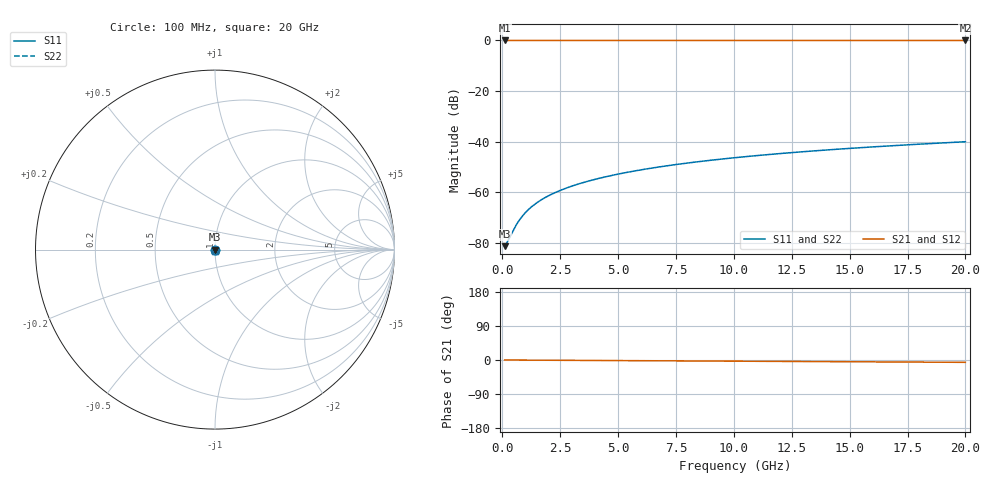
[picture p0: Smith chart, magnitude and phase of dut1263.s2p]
! Touchstone file exported from HFSS 2026.1.0
!  File:  C:/ffzhzh/LocalFiles/Ansys_Project_Files/temp_train_TSV_1263_1783193928_55132.aedt
!  Generated:  03:40:19 AM Jul  5, 2026
!  Design:  TSV
!  Project:  temp_train_TSV_1263_1783193928_55132
! Variables:
!  h_bsmrdl = 2um
!  h_ox = 20um
!  h_rdl = 5um
!  h_sub = 59.54um
!  h_tmrdl = 5um
!  h_tsv = 59.54um
!  h_via = 3um
!  l_bsmrdl = 300um
!  l_sub = 423.24um
!  l_tmrdl = 200um
!  m_sub = 200um
!  pitch = 42.25um
!  r_tsv = 11.62um
!  s_tmrdl = 10um
!  w_bsmrdl = 18um
!  w_sub = 500um
!  w_tmrdl = 12um
!  x_tsv_center1 = 206um
!  x_tsv_center2 = 524um
!  x_tsv_center3 = 736um
!  x_tsv_center4 = 1054um
!  x_tsv_center5 = 1266um
!  x_tsv_center6 = 1584um
# GHz S MA R 50.000000
! Terminal data exported
! Port[1] = TSV1_1_T1
! Port[2] = TSV1_1_T2
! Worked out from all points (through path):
!   200 points, 100 MHz to 20 GHz, reference 50 ohm
!   highest |S21| = 0.00 dB at 100 MHz (marker M1); lowest = 0.0 dB at 20 GHz (marker M2)
!   lowest |S11| = -81.3 dB at 100 MHz (marker M3), VSWR 1.00, Z = 50 - j0.00158 ohm
!   |S11| at or under -10 dB: start of sweep to end of sweep
!   |S22| runs from -81.3 to -40.0 dB; largest |S21 - S12| = 2.4e-15
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0.1  8.586e-05 -10.6  0.9999 -0.0  0.9999 -0.0  8.586e-05 -10.6
! Gamma 0 0 0 0
! Port Impedance 50 0 50 0
0.2  0.0001004 -19.9  0.9999 -0.1  0.9999 -0.1  0.0001004 -19.9
0.5  0.0001869 -38.8  0.9999 -0.2  0.9999 -0.2  0.0001869 -38.8
0.6  0.0002249 -43.2  0.9998 -0.2  0.9998 -0.2  0.0002249 -43.2
0.8  0.0003079 -50.2  0.9998 -0.3  0.9998 -0.3  0.0003079 -50.2
0.9  0.0003515 -53.1  0.9998 -0.3  0.9998 -0.3  0.0003515 -53.1
1.1  0.0004408 -57.8  0.9998 -0.3  0.9998 -0.3  0.0004408 -57.8
1.4  0.0005772 -63.1  0.9997 -0.4  0.9997 -0.4  0.0005772 -63.0
1.8  0.0007609 -67.8  0.9997 -0.6  0.9997 -0.6  0.0007609 -67.8
2.3  0.0009922 -71.6  0.9997 -0.7  0.9997 -0.7  0.0009922 -71.6
2.9  0.001272 -74.6  0.9996 -0.9  0.9996 -0.9  0.001272 -74.6
3.5  0.001556 -76.6  0.9996 -1.1  0.9996 -1.1  0.001556 -76.6
4.2  0.001892 -78.3  0.9996 -1.3  0.9996 -1.3  0.001892 -78.3
5  0.002281 -79.8  0.9995 -1.6  0.9995 -1.6  0.002281 -79.8
5.9  0.002726 -81.1  0.9995 -1.8  0.9995 -1.8  0.002726 -81.1
6.8  0.003175 -82.2  0.9994 -2.1  0.9994 -2.1  0.003175 -82.2
8.3  0.003931 -83.7  0.9994 -2.6  0.9994 -2.6  0.003931 -83.7
10.1  0.004845 -85.2  0.9993 -3.1  0.9993 -3.1  0.004845 -85.2
11.7  0.005662 -86.3  0.9993 -3.6  0.9993 -3.6  0.005662 -86.3
13.4  0.006534 -87.4  0.9992 -4.1  0.9992 -4.1  0.006534 -87.4
16.7  0.008235 -89.2  0.9991 -5.1  0.9991 -5.1  0.008236 -89.2
20  0.009954 -90.7  0.999 -6.2  0.999 -6.2  0.009954 -90.7
